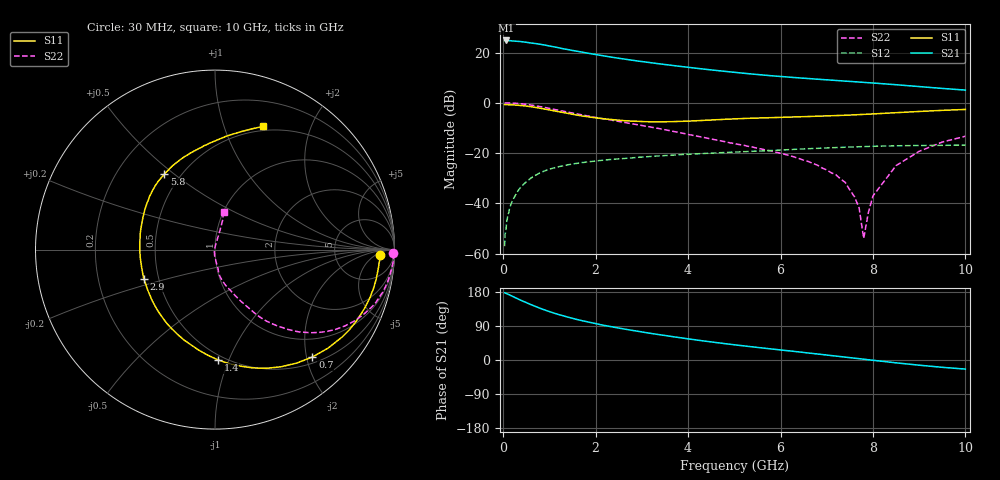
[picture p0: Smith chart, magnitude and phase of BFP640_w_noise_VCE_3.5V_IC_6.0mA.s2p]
! Infineon Technologies  Discrete & RF Semiconductors
! BFP640
! VCE =  3.5 V,  IC =  6.0 mA
! Common Emitter S-Parameters:  Apr 2013
# GHz  S  MA  R  50
!  f  S11  S21  S12  S22
! GHz  MAG  ANG  MAG  ANG  MAG  ANG  MAG  ANG
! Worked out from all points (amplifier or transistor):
!   99 points, 30 MHz to 10 GHz, reference 50 ohm
!   highest |S21| = 24.8 dB at 70 MHz (marker M1)
!   |S21| within 3 dB of that: start of sweep to 1.222 GHz
!   unconditionally stable (mu >= 1): 4.633 GHz to end of sweep
!   at 350 MHz: K = 0.10, MSG = 29.3 dB, |S12| = -34.2 dB
!   at 3.5 GHz: K = 0.88, MSG = 18.1 dB, |S12| = -21.0 dB
!   at 10 GHz: K = 1.13, MAG = 8.7 dB, |S12| = -16.9 dB
!   lowest NFmin = 0.56 dB at 450 MHz
!   S11 on the Smith chart (normalised r, x): 30 MHz: 20, -8; 700 MHz: 0.61, -2.11; 1.4 GHz: 0.46, -0.91; 2.9 GHz: 0.41, -0.16; 5.8 GHz: 0.41, +0.46; 10 GHz: 0.45, +1.37
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0.03  0.9177 -2.0  17.27 177.5  0.0014 88.9  0.9939 -1.2
0.07  0.9168 -4.9  17.4 175.4  0.0039 79.9  0.9953 -2.8
0.25  0.9035 -17.5  16.93 165.1  0.0137 79.5  0.9792 -10.3
0.4  0.8799 -27.8  16.44 156.7  0.0219 75.5  0.9515 -16.4
0.7  0.8077 -47.8  15.09 141.2  0.0361 65.3  0.872 -27.2
0.9  0.7493 -60.6  14.09 131.9  0.0442 59.5  0.8066 -33.4
1  0.721 -66.5  13.51 127.7  0.0477 56.7  0.7724 -36.2
1.4  0.6143 -88.5  11.45 113.1  0.0583 47.8  0.6524 -44.6
1.7  0.5472 -104.2  10.23 103.9  0.0644 42.7  0.5762 -49.0
2.2  0.4779 -127.9  8.518 91.0  0.0724 36.7  0.4736 -55.2
2.9  0.4284 -157.9  6.804 76.1  0.082 30.5  0.367 -60.5
3.4  0.4187 -178.1  5.929 66.4  0.0879 26.5  0.3033 -64.7
4.2  0.4402 155.5  4.847 52.5  0.0965 21.0  0.2159 -72.4
5.1  0.4824 135.0  3.96 38.7  0.1053 15.3  0.1477 -79.8
5.8  0.5063 123.8  3.453 29.1  0.1122 11.4  0.1098 -81.0
6.7  0.5373 111.2  2.993 17.2  0.123 5.9  0.0621 -85.5
7.4  0.5652 100.5  2.702 7.6  0.1306 0.6  0.026 -96.2
7.7  0.5821 96.0  2.587 3.5  0.1335 -1.7  0.0081 -110.3
7.8  0.5874 94.3  2.549 2.1  0.1345 -2.5  0.002 -152.3
8  0.5999 91.3  2.477 -0.7  0.1361 -4.1  0.014 89.5
8.5  0.6354 84.2  2.289 -7.5  0.1394 -8.1  0.0562 77.5
10  0.7376 68.6  1.789 -24.0  0.1435 -17.7  0.2156 77.1
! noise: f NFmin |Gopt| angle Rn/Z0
0.45  0.56  0.4  11  0.09
0.9  0.58  0.4  20  0.09
1.5  0.6  0.35  32  0.09
1.9  0.63  0.3  50  0.09
2.4  0.69  0.27  58  0.09
3.5  0.83  0.22  81  0.09
5.5  1.09  0.26  -150  0.11
10  1.75  0.61  -63  0.42
